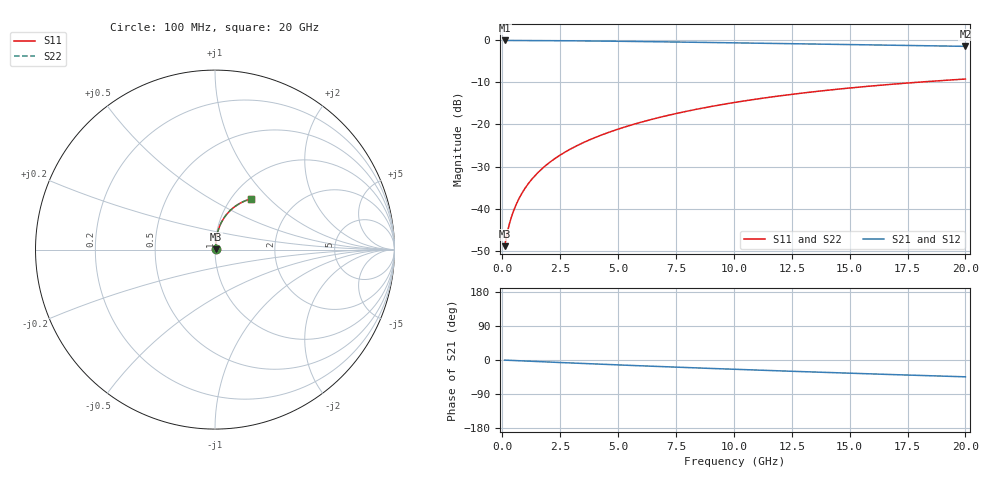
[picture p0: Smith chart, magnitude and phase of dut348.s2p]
! Touchstone file exported from HFSS 2024.1.0
!  File:  C:/UserFiles/LocalFiles/RDL_TSV_Batchsim/temp_RDL_bottom_348_1779612244.aedt
!  Generated:  04:46:34 PM May 24, 2026
!  Design:  RDL_bottom
!  Project:  temp_RDL_bottom_348_1779612244
!  Setup:  Setup1
!  Solution:  Sweep
! Variables:
!  dtsv = 10.80580581um
!  hbump = 3um
!  htsv = 72.94um
!  ldown = 692.61um
!  lrdl = 100um
!  p = 40
!  p1 = 41.35um
!  rhole = 1um
!  t = 450um
!  tdown = 4.2um
!  trdl = 3.915915916um
!  wdown = 20.8um
!  wrdl = 20um
# GHz S MA R 50.000000
! Terminal data exported
! Port[1] = RDL1_T1
! Port[2] = RDL1_T2
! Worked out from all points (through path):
!   200 points, 100 MHz to 20 GHz, reference 50 ohm
!   highest |S21| = -0.03 dB at 100 MHz (marker M1); lowest = -1.4 dB at 20 GHz (marker M2)
!   group delay of S21, straight-line fit = 6.12 ps
!   lowest |S11| = -48.9 dB at 100 MHz (marker M3), VSWR 1.01, Z = 50.3 + j0.197 ohm
!   |S11| at or under -10 dB: start of sweep to 17.85 GHz
!   |S22| runs from -48.9 to -9.2 dB; largest |S21 - S12| = 5.2e-15
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0.1  0.003574 33.3  0.997 -0.3  0.997 -0.3  0.003574 33.3
! Gamma 0 0 0 0
! Port Impedance 50 0 50 0
0.2  0.004956 50.1  0.9968 -0.6  0.9968 -0.6  0.004956 50.2
0.3  0.00648 58.8  0.9966 -0.8  0.9966 -0.8  0.00648 58.8
0.4  0.00803 64.1  0.9964 -1.1  0.9964 -1.1  0.00803 64.1
0.5  0.009599 67.9  0.9962 -1.4  0.9962 -1.4  0.009599 67.9
0.6  0.01119 70.7  0.996 -1.6  0.996 -1.6  0.01119 70.7
0.8  0.01443 74.5  0.9957 -2.2  0.9957 -2.2  0.01443 74.5
1.1  0.01938 77.9  0.9951 -3.0  0.9951 -3.0  0.01938 77.9
1.3  0.02274 79.3  0.9946 -3.5  0.9946 -3.5  0.02274 79.3
1.6  0.02781 80.7  0.9938 -4.3  0.9938 -4.3  0.02781 80.7
2.1  0.03636 82.0  0.992 -5.6  0.992 -5.6  0.03636 82.0
2.7  0.04676 82.7  0.9894 -7.2  0.9894 -7.2  0.04677 82.7
3.5  0.06085 82.8  0.9851 -9.2  0.9851 -9.2  0.06086 82.8
4.2  0.07339 82.5  0.9808 -11.0  0.9808 -11.0  0.0734 82.5
5  0.08796 81.9  0.9753 -12.9  0.9753 -12.9  0.08798 81.9
6.8  0.1215 79.7  0.9615 -17.3  0.9615 -17.3  0.1216 79.7
8.4  0.1519 77.2  0.9482 -20.9  0.9482 -20.9  0.1519 77.2
10.1  0.184 74.1  0.9336 -24.7  0.9336 -24.7  0.1841 74.1
11.7  0.2136 70.9  0.9197 -28.1  0.9197 -28.1  0.2137 71.0
13.4  0.244 67.5  0.9048 -31.6  0.9048 -31.6  0.2441 67.6
16.7  0.2987 60.9  0.8763 -38.2  0.8763 -38.2  0.2989 61.0
20  0.3468 54.6  0.8485 -44.4  0.8485 -44.4  0.347 54.6
